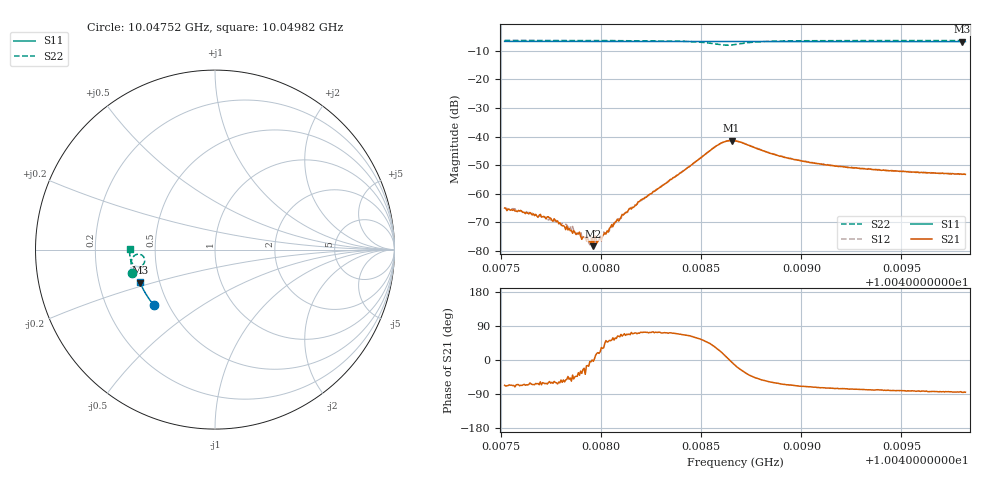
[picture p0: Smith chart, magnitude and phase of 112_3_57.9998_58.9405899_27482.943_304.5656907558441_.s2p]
#  HZ  S  RI  R  50.00
! Rohde & Schwarz Vector Network Analyzer
! Rohde-Schwarz,ZNB20-2Port,1311601062101988,3.16
! Created: UTC 3/21/2024, 12:55:16 AM
! freq[Hz]  re:S11  im:S11  re:S21  im:S21  re:S12  im:S12  re:S22  im:S22
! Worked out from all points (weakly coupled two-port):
!   401 points, 10.04752 GHz to 10.04982 GHz, reference 50 ohm
!   highest |S21| = -41.40 dB at 10.04865 GHz (marker M1); lowest = -78.3 dB at 10.04796 GHz (marker M2)
!   lowest |S11| = -6.8 dB at 10.0498 GHz (marker M3), VSWR 2.68, Z = 19.4 - j8.99 ohm
!   |S11| at or under -10 dB: nowhere
!   |S22| runs from -8.1 to -6.4 dB; largest |S21 - S12| = 0.00059
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1.0047519e10  -0.3387 -0.3114  0.000222 -0.000516  0.000244 -0.000522  -0.4603 -0.1278
1.0047743e10  -0.3483 -0.3  0.000206 -0.000315  0.000213 -0.000291  -0.4639 -0.1116
1.0047818e10  -0.3513 -0.2959  0.000142 -0.000227  0.000174 -0.000247  -0.4648 -0.1058
1.0047875e10  -0.3537 -0.293  0.000141 -0.000132  0.000161 -0.000121  -0.4654 -0.1015
1.0047904e10  -0.3549 -0.2914  0.00013 -9.21e-05  0.000157 -7.92e-05  -0.4657 -0.099
1.004795e10  -0.3567 -0.2891  0.000133 -1.07e-05  0.000177 -3.29e-06  -0.4662 -0.0952
1.0047961e10  -0.3573 -0.2883  0.000121 -7.33e-06  0.000159 2.24e-05  -0.4663 -0.0943
1.0047979e10  -0.3578 -0.2876  0.00013 4.09e-05  0.000152 5.18e-05  -0.4663 -0.0928
1.004799e10  -0.3582 -0.2868  0.000151 4.73e-05  0.000165 5.3e-05  -0.4666 -0.0919
1.004803e10  -0.36 -0.2848  0.000151 0.000165  0.000144 0.000175  -0.4669 -0.0884
1.0048117e10  -0.3633 -0.2802  0.000158 0.000415  0.000147 0.000424  -0.4673 -0.0807
1.0048197e10  -0.3664 -0.276  0.000222 0.000738  0.000201 0.000724  -0.4671 -0.0725
1.0048289e10  -0.37 -0.2708  0.000359 0.0012  0.000323 0.00121  -0.4658 -0.0619
1.0048577e10  -0.38 -0.2546  0.00591 0.00356  0.00568 0.00393  -0.411 -0.0288
1.0048611e10  -0.3811 -0.2528  0.00768 0.00211  0.00759 0.0026  -0.3958 -0.0432
1.0048652e10  -0.3822 -0.2508  0.00847 -0.000778  0.00854 -0.000271  -0.3927 -0.0697
1.0048669e10  -0.3829 -0.2499  0.00815 -0.002  0.00832 -0.00148  -0.3973 -0.0799
1.0048882e10  -0.3906 -0.2381  0.00225 -0.00409  0.00245 -0.00404  -0.4598 -0.0781
1.0049054e10  -0.3962 -0.2282  0.00112 -0.00329  0.00131 -0.00326  -0.4699 -0.0571
1.0049439e10  -0.4078 -0.2055  0.000422 -0.00248  0.00056 -0.00247  -0.4754 -0.0231
1.0049802e10  -0.4173 -0.1836  0.000184 -0.00217  0.000302 -0.00217  -0.4763 0.00385
1.0049819e10  -0.4178 -0.1825  0.000186 -0.00217  0.000312 -0.00216  -0.4763 0.00516
